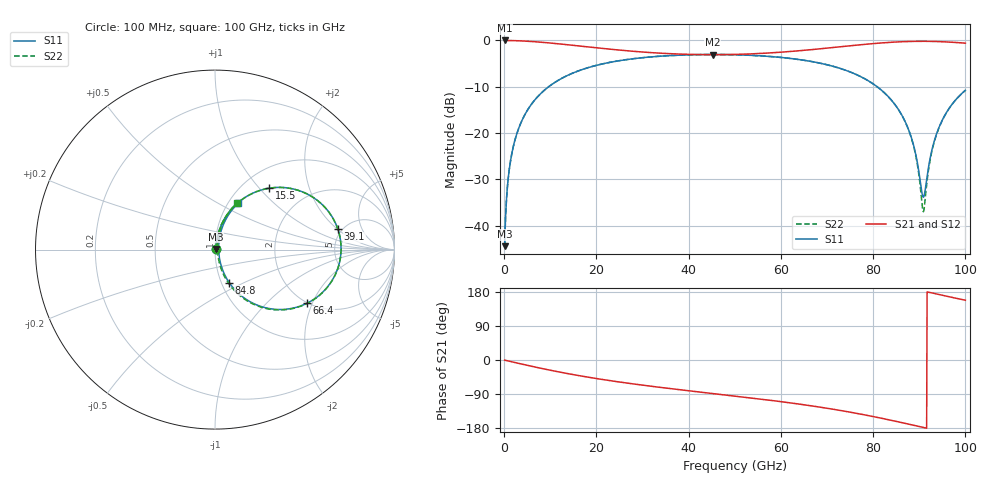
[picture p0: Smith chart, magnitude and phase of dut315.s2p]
! Touchstone file exported from HFSS 2026.1.0
!  File:  C:/ffzhzh/LocalFiles/Ansys_Project_Files/temp_train_RDL_315_1783502596_31944.aedt
!  Generated:  05:24:50 PM Jul  8, 2026
!  Design:  RDL
!  Project:  temp_train_RDL_315_1783502596_31944
! Variables:
!  h_bsmrdl = 2um
!  h_ox = 20um
!  h_rdl = 5um
!  h_sub = 80um
!  h_tmrdl = 4.15um
!  h_tsv = 80um
!  h_via = 3um
!  l_bsmrdl = 300um
!  l_sub = 1061.51um
!  l_tmrdl = 661.51um
!  m_sub = 200um
!  pitch = 50.77um
!  r_tsv = 6um
!  s_tmrdl = 10um
!  w_bsmrdl = 18um
!  w_sub = 500um
!  w_tmrdl = 11.92um
!  x_tsv_center1 = 667.47um
!  x_tsv_center2 = 985.47um
!  x_tsv_center3 = 1658.9um
!  x_tsv_center4 = 1976.9um
!  x_tsv_center5 = 2650.33um
!  x_tsv_center6 = 2968.33um
# GHz S MA R 50.000000
! Terminal data exported
! Port[1] = TM_RDL1_1_T1
! Port[2] = TM_RDL1_1_T2
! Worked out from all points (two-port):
!   1000 points, 100 MHz to 100 GHz, reference 50 ohm
!   highest |S21| = -0.04 dB at 100 MHz (marker M1); lowest = -3.1 dB at 45.2 GHz (marker M2)
!   |S21| within 3 dB of the highest: start of sweep to 40.14 GHz; 50.33 GHz to end of sweep
!   lowest |S11| = -44.4 dB at 100 MHz (marker M3), VSWR 1.01, Z = 50.5 + j0.375 ohm
!   |S11| at or under -10 dB: start of sweep to 9.67 GHz; 80.85 GHz to end of sweep
!   |S22| runs from -44.4 to -3.1 dB; largest |S21 - S12| = 1.9e-14
!   S11 on the Smith chart (normalised r, x): 100 MHz: 1.01, +0.01; 15.5 GHz: 1.31, +1.13; 39.1 GHz: 4.63, +2.01; 66.4 GHz: 1.98, -1.83; 84.8 GHz: 1.09, -0.42; 100 GHz: 1.11, +0.63
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0.1  0.006048 37.9  0.9952 -0.3  0.9952 -0.3  0.006048 37.9
! Gamma 0 0 0 0
! Port Impedance 50 0 50 0
0.8  0.02964 77.3  0.9942 -2.3  0.9942 -2.3  0.02964 77.3
1.4  0.05087 79.6  0.9931 -4.0  0.9931 -4.0  0.05087 79.6
3.8  0.1346 76.2  0.9837 -10.7  0.9837 -10.7  0.1346 76.2
8.4  0.2803 64.8  0.9492 -23.0  0.9492 -23.0  0.2803 64.8
15.5  0.456 48.6  0.8764 -39.7  0.8764 -39.7  0.456 48.6
16.8  0.4816 45.9  0.8626 -42.5  0.8626 -42.5  0.4816 45.9
33.4  0.6711 17.4  0.7281 -71.6  0.7281 -71.6  0.6711 17.4
39.1  0.6943 9.3  0.707 -79.9  0.707 -79.9  0.6943 9.3
45.2  0.7025 1.0  0.6993 -88.4  0.6993 -88.4  0.7026 0.9
50.1  0.6977 -5.7  0.7041 -95.2  0.7041 -95.2  0.6977 -5.8
66.4  0.5932 -30.3  0.7905 -120.6  0.7905 -120.6  0.5932 -30.5
66.7  0.5896 -30.8  0.793 -121.1  0.793 -121.1  0.5896 -31.0
76.6  0.4218 -49.7  0.8882 -141.2  0.8882 -141.2  0.4217 -50.3
83.4  0.2434 -64.0  0.9481 -157.8  0.9481 -157.8  0.2432 -65.2
84.8  0.2008 -66.6  0.9571 -161.5  0.9571 -161.5  0.2005 -68.1
88.4  0.08575 -68.3  0.9722 -171.2  0.9722 -171.2  0.08466 -72.1
90.9  0.02036 3.0  0.9747 -178.0  0.9747 -178.0  0.01423 3.4
92.6  0.06121 67.2  0.9725 177.3  0.9725 177.3  0.05934 73.0
94.1  0.1094 71.9  0.968 173.2  0.968 173.2  0.1083 75.3
96.6  0.1887 69.8  0.9556 166.5  0.9556 166.5  0.188 71.8
100  0.289 63.3  0.9306 157.8  0.9306 157.8  0.2885 64.7
